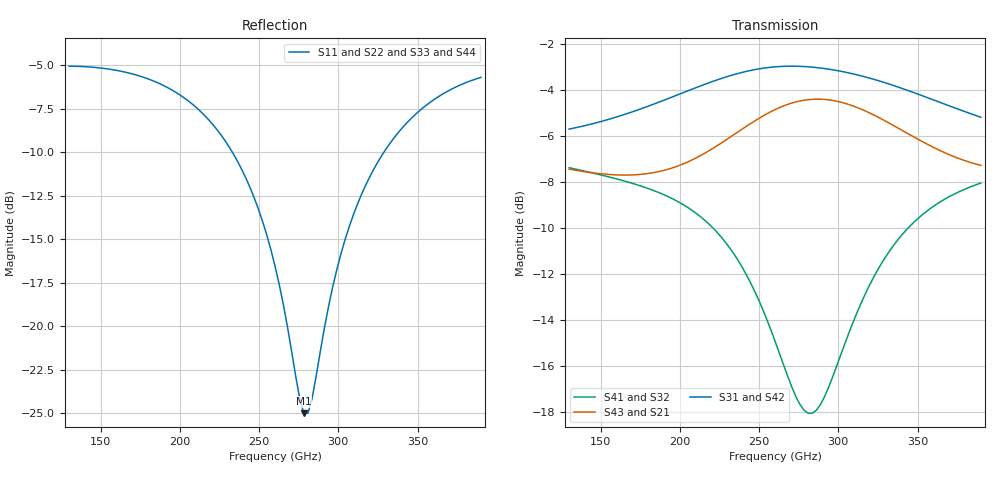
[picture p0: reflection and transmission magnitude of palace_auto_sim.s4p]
#  GHZ S DB R 50
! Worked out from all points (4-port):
!   101 points, 130 GHz to 390 GHz, reference 50 ohm
!   strongest paths, dB at 130 GHz, 195 GHz, 260 GHz, 325 GHz, 390 GHz:
!     S31: -5.7, -4.3, -3.0, -3.6, -5.2
!     S42: -5.7, -4.3, -3.0, -3.6, -5.2
!     S43: -7.4, -7.4, -4.9, -5.2, -7.3
!     S21: -7.4, -7.4, -4.9, -5.2, -7.3
!     S41: -7.4, -8.7, -14.9, -11.8, -8.0
!     S32: -7.4, -8.7, -14.9, -11.8, -8.1
!   lowest |S11| = -25.0 dB at 278.2 GHz (marker M1), VSWR 1.12, Z = 55.9 - j0.379 ohm
!   |S11| at or under -10 dB: 233.1 GHz to 328.8 GHz (95.73 GHz wide, 34.1 % of centre)
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130  -5.05 157.0  -7.45 -50.6  -5.70 -78.8  -7.38 -61.5
     -7.45 -50.6  -5.05 157.0  -7.38 -61.4  -5.70 -78.8
     -5.70 -78.8  -7.38 -61.4  -5.05 157.0  -7.45 -50.6
     -7.38 -61.5  -5.70 -78.8  -7.45 -50.6  -5.05 157.0
187.2  -6.06 131.4  -7.54 -62.9  -4.52 -115.1  -8.48 -88.8
       -7.54 -62.9  -6.07 131.4  -8.47 -88.8  -4.52 -115.1
       -4.52 -115.1  -8.47 -88.8  -6.07 131.4  -7.54 -62.9
       -8.48 -88.8  -4.52 -115.1  -7.54 -62.9  -6.06 131.4
228.8  -9.38 103.0  -6.19 -73.3  -3.44 -146.7  -10.63 -112.1
       -6.19 -73.3  -9.40 103.0  -10.61 -112.2  -3.44 -146.8
       -3.44 -146.7  -10.61 -112.2  -9.40 103.0  -6.19 -73.3
       -10.63 -112.1  -3.44 -146.8  -6.19 -73.3  -9.39 102.9
254.8  -14.76 76.2  -5.04 -85.8  -3.03 -169.2  -13.98 -121.9
       -5.04 -85.8  -14.81 76.2  -13.95 -122.1  -3.03 -169.2
       -3.03 -169.2  -13.95 -122.1  -14.80 76.2  -5.04 -85.8
       -13.98 -121.9  -3.03 -169.2  -5.04 -85.8  -14.78 76.2
278.2  -25.02 -3.4  -4.45 -101.1  -2.98 170.0  -17.92 -104.7
       -4.45 -101.1  -25.03 -4.8  -17.92 -105.1  -2.98 170.0
       -2.98 170.0  -17.92 -105.1  -25.03 -4.3  -4.45 -101.1
       -17.92 -104.7  -2.98 170.0  -4.45 -101.1  -25.03 -3.9
319.8  -11.42 -118.4  -5.01 -128.5  -3.49 134.4  -12.48 -75.7
       -5.01 -128.5  -11.38 -118.4  -12.51 -75.7  -3.49 134.4
       -3.49 134.4  -12.51 -75.7  -11.39 -118.4  -5.00 -128.5
       -12.48 -75.7  -3.49 134.4  -5.00 -128.5  -11.41 -118.5
390  -5.70 -162.6  -7.28 -154.4  -5.19 82.5  -8.05 -113.2
     -7.28 -154.4  -5.68 -162.5  -8.07 -113.1  -5.19 82.5
     -5.19 82.5  -8.07 -113.1  -5.68 -162.5  -7.28 -154.3
     -8.05 -113.2  -5.19 82.5  -7.28 -154.3  -5.69 -162.6
